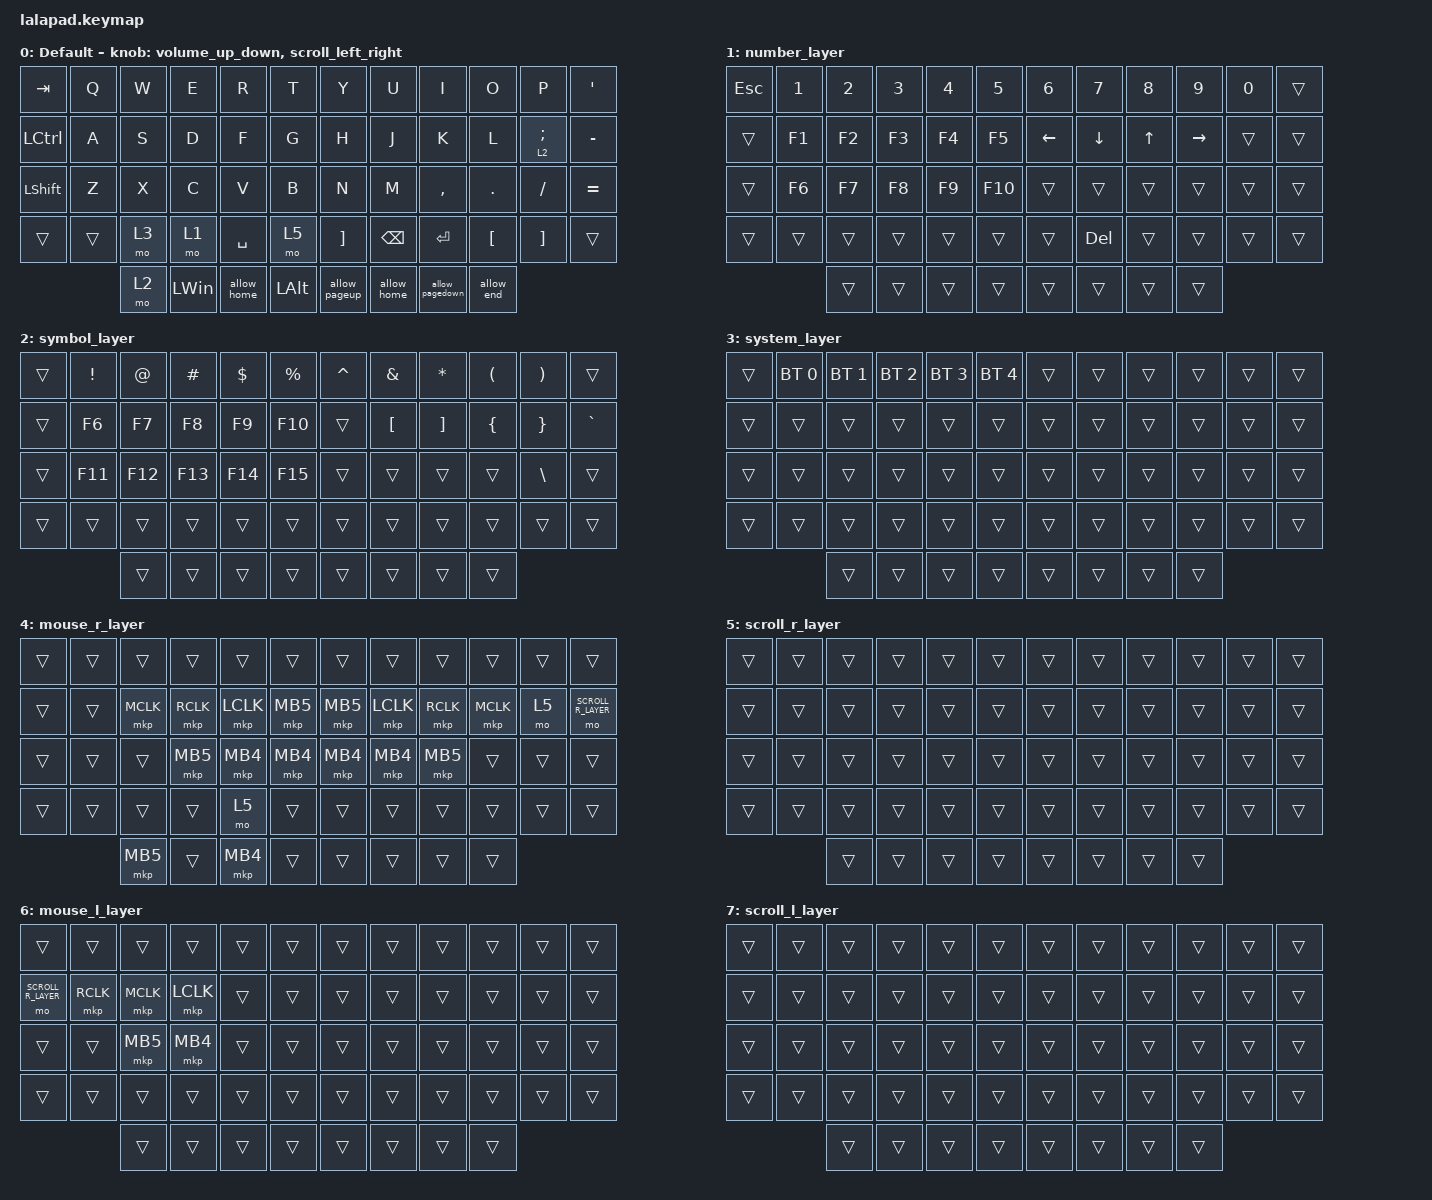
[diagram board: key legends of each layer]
#include <input/processors.dtsi>
#include <behaviors.dtsi>
#include <dt-bindings/zmk/bt.h>
#include <dt-bindings/zmk/keys.h>
#include <dt-bindings/zmk/pointing.h>

#define DEFAULT_LAYER   0
#define NUMBER_LAYER    1
#define SYMBOL_LAYER    2
#define SYSTEM_LAYER    3
#define MOUSE_R_LAYER   4
#define SCROLL_R_LAYER  5
#define MOUSE_L_LAYER   6
#define SCROLL_L_LAYER  7

// Mouse Scroll Value

#define ZMK_POINTING_DEFAULT_SCRL_VAL 100

// cirque trackpad input&layer control

&glidepoint_listener_R {
    input-processors =
        <&zip_xy_transform (INPUT_TRANSFORM_XY_SWAP | INPUT_TRANSFORM_X_INVERT | INPUT_TRANSFORM_Y_INVERT)>,
        <&zip_xy_scaler 3 2>,
        <&zip_temp_layer MOUSE_R_LAYER 500>;

    lowspeedmode {
        layers = <NUMBER_LAYER>;
        input-processors =
            <&zip_xy_transform (INPUT_TRANSFORM_XY_SWAP | INPUT_TRANSFORM_X_INVERT | INPUT_TRANSFORM_Y_INVERT)>,
            <&zip_xy_scaler 3 5>,
            <&zip_temp_layer MOUSE_R_LAYER 500>;
    };

    scroller {
        layers = <SCROLL_R_LAYER>;
        input-processors =
            <&zip_xy_to_scroll_mapper>,
            <&zip_scroll_transform (INPUT_TRANSFORM_XY_SWAP | INPUT_TRANSFORM_Y_INVERT)>,
            <&zip_scroll_scaler 1 8>;
    };
};

&glidepoint_listener_L {
    input-processors =
        <&zip_xy_transform (INPUT_TRANSFORM_XY_SWAP | INPUT_TRANSFORM_X_INVERT | INPUT_TRANSFORM_Y_INVERT)>,
        <&zip_xy_scaler 3 2>,
        <&zip_temp_layer MOUSE_L_LAYER 500>;

    lowspeedmode {
        layers = <NUMBER_LAYER>;
        input-processors =
            <&zip_xy_transform (INPUT_TRANSFORM_XY_SWAP | INPUT_TRANSFORM_X_INVERT | INPUT_TRANSFORM_Y_INVERT)>,
            <&zip_xy_scaler 3 4>,
            <&zip_temp_layer MOUSE_L_LAYER 500>;
    };

    scroller {
        layers = <SCROLL_L_LAYER>;
        input-processors =
            <&zip_xy_to_scroll_mapper>,
            <&zip_scroll_transform (INPUT_TRANSFORM_XY_SWAP | INPUT_TRANSFORM_Y_INVERT)>,
            <&zip_scroll_scaler 1 6>;
    };
};

/ {
    behaviors {
        // Encoder to Mouse Scroll

        scroll_up_down: behavior_sensor_rotate_mouse_wheel_up_down {
            compatible = "zmk,behavior-sensor-rotate";
            #sensor-binding-cells = <0>;
            bindings = <&msc SCRL_UP>, <&msc SCRL_DOWN>;

            tap-ms = <20>;
        };

        scroll_down_up: behavior_sensor_rotate_mouse_wheel_down_up {
            compatible = "zmk,behavior-sensor-rotate";
            #sensor-binding-cells = <0>;
            bindings = <&msc SCRL_DOWN>, <&msc SCRL_UP>;

            tap-ms = <20>;
        };

        scroll_left_right: behavior_sensor_rotate_mouse_wheel_left_right {
            compatible = "zmk,behavior-sensor-rotate";
            #sensor-binding-cells = <0>;
            bindings = <&msc SCRL_LEFT>, <&msc SCRL_RIGHT>;

            tap-ms = <20>;
        };

        scroll_right_left: behavior_sensor_rotate_mouse_wheel_right_left {
            compatible = "zmk,behavior-sensor-rotate";
            #sensor-binding-cells = <0>;
            bindings = <&msc SCRL_RIGHT>, <&msc SCRL_LEFT>;

            tap-ms = <20>;
        };

        volume_up_down: behavior_sensor_rotate_volume_up_down {
            compatible = "zmk,behavior-sensor-rotate";
            #sensor-binding-cells = <0>;
            bindings = <&kp C_VOLUME_UP>, <&kp C_VOLUME_DOWN>;

            tap-ms = <20>;
        };

        dot_comma: dot_comma {
            compatible = "zmk,behavior-mod-morph";
            #binding-cells = <0>;
            bindings = <&kp KP_DOT>, <&kp COMMA>;

            mods = <(MOD_LSFT|MOD_RSFT)>;
            label = "DOT_COMMA";
        };

        pls_minus: pls_minus {
            compatible = "zmk,behavior-mod-morph";
            #binding-cells = <0>;
            bindings = <&kp PLUS>, <&kp MINUS>;

            mods = <(MOD_LSFT|MOD_RSFT)>;
            label = "PLS_MINUS";
        };

        allow_pageup: allow_pageup {
            compatible = "zmk,behavior-mod-morph";
            #binding-cells = <0>;
            bindings = <&kp UP>, <&kp PAGE_UP>;

            mods = <(MOD_LCTL|MOD_RCTL)>;
            label = "ALLOW_PAGEUP";
        };

        allow_pagedown: allow_pagedown {
            compatible = "zmk,behavior-mod-morph";
            #binding-cells = <0>;
            bindings = <&kp DOWN>, <&kp PAGE_DOWN>;

            mods = <(MOD_LCTL|MOD_RCTL)>;
            label = "ALLOW_PAGEDOWN";
        };

        allow_home: allow_home {
            compatible = "zmk,behavior-mod-morph";
            #binding-cells = <0>;
            bindings = <&kp LEFT>, <&kp HOME>;

            mods = <(MOD_LCTL|MOD_RCTL)>;
            label = "ALLOW_HOME";
        };

        allow_end: allow_end {
            compatible = "zmk,behavior-mod-morph";
            #binding-cells = <0>;
            bindings = <&kp RIGHT>, <&kp END>;

            mods = <(MOD_LCTL|MOD_RCTL)>;
            label = "ALLOW_END";
        };

        mt2: mod_tap2 {
            compatible = "zmk,behavior-hold-tap";
            #binding-cells = <2>;
            flavor = "tap-preferred";
            tapping-term-ms = <200>;
            quick-tap-ms = <200>;
            require-prior-idle-ms = <125>;
            bindings = <&kp>, <&kp>;
        };
    };

    combos {
        compatible = "zmk,combos";

        JK_ctrl {
            bindings = <&kp LEFT_CONTROL>;
            key-positions = <19 20>;
            layers = <0>;
        };

        m,_alt {
            bindings = <&none>;
            key-positions = <31 32>;
            layers = <0>;
        };

        NM_shift {
            bindings = <&none>;
            key-positions = <30 31>;
            layers = <0>;
        };
    };

    keymap {
        compatible = "zmk,keymap";

        DEFAULT_LAYER {
            display-name = "Default";
            sensor-bindings = <&volume_up_down>, <&scroll_left_right>;

            bindings = <
&kp TAB    &kp Q   &kp W  &kp E         &kp R        &kp T         &kp Y              &kp U          &kp I            &kp O             &kp P              &kp SINGLE_QUOTE
&kp LCTRL  &kp A   &kp S  &kp D         &kp F        &kp G         &kp H              &kp J          &kp K            &kp L             &lt 2 SEMI         &kp MINUS
&kp LSHFT  &kp Z   &kp X  &kp C         &kp V        &kp B         &kp N              &kp M          &kp COMMA        &kp PERIOD        &kp SLASH          &kp EQUAL
&trans     &trans  &mo 3  &mo 1         &kp SPACE    &mo 5         &kp RIGHT_BRACKET  &kp BACKSPACE  &kp RET          &kp LEFT_BRACKET  &kp RIGHT_BRACKET  &trans
                   &mo 2  &kp LEFT_WIN  &allow_home  &kp LEFT_ALT  &allow_pageup      &allow_home    &allow_pagedown  &allow_end
            >;
        };

        NUMBER_LAYER {
            display-name = "number_layer";
            bindings = <
&kp ESC  &kp NUMBER_1  &kp NUMBER_2  &kp NUMBER_3  &kp NUMBER_4  &kp NUMBER_5  &kp NUMBER_6    &kp N7          &kp N8        &kp N9           &kp N0  &trans
&trans   &kp F1        &kp F2        &kp F3        &kp F4        &kp F5        &kp LEFT_ARROW  &kp DOWN_ARROW  &kp UP_ARROW  &kp RIGHT_ARROW  &trans  &trans
&trans   &kp F6        &kp F7        &kp F8        &kp F9        &kp F10       &trans          &trans          &trans        &trans           &trans  &trans
&trans   &trans        &trans        &trans        &trans        &trans        &trans          &kp DELETE      &trans        &trans           &trans  &trans
                       &trans        &trans        &trans        &trans        &trans          &trans          &trans        &trans
            >;
        };

        SYMBOL_LAYER {
            display-name = "symbol_layer";
            bindings = <
&trans  &kp EXCL  &kp AT   &kp HASH  &kp DOLLAR  &kp PERCENT  &kp CARET  &kp AMPERSAND     &kp ASTRK          &kp LEFT_PARENTHESIS  &kp RIGHT_PARENTHESIS  &trans
&trans  &kp F6    &kp F7   &kp F8    &kp F9      &kp F10      &trans     &kp LEFT_BRACKET  &kp RIGHT_BRACKET  &kp LEFT_BRACE        &kp RIGHT_BRACE        &kp GRAVE
&trans  &kp F11   &kp F12  &kp F13   &kp F14     &kp F15      &trans     &trans            &trans             &trans                &kp BACKSLASH          &trans
&trans  &trans    &trans   &trans    &trans      &trans       &trans     &trans            &trans             &trans                &trans                 &trans
                  &trans   &trans    &trans      &trans       &trans     &trans            &trans             &trans
            >;
        };

        SYSTEM_LAYER {
            display-name = "system_layer";
            bindings = <
&trans  &bt BT_SEL 0  &bt BT_SEL 1  &bt BT_SEL 2  &bt BT_SEL 3  &bt BT_SEL 4  &trans  &trans  &trans  &trans  &trans  &trans
&trans  &trans        &trans        &trans        &trans        &trans        &trans  &trans  &trans  &trans  &trans  &trans
&trans  &trans        &trans        &trans        &trans        &trans        &trans  &trans  &trans  &trans  &trans  &trans
&trans  &trans        &trans        &trans        &trans        &trans        &trans  &trans  &trans  &trans  &trans  &trans
                      &trans        &trans        &trans        &trans        &trans  &trans  &trans  &trans
            >;
        };

        MOUSE_R_LAYER {
            display-name = "mouse_r_layer";
            bindings = <
&trans  &trans  &trans     &trans     &trans     &trans    &trans    &trans     &trans     &trans     &trans  &trans
&trans  &trans  &mkp MCLK  &mkp RCLK  &mkp LCLK  &mkp MB5  &mkp MB5  &mkp LCLK  &mkp RCLK  &mkp MCLK  &mo 5   &mo SCROLL_R_LAYER
&trans  &trans  &trans     &mkp MB5   &mkp MB4   &mkp MB4  &mkp MB4  &mkp MB4   &mkp MB5   &trans     &trans  &trans
&trans  &trans  &trans     &trans     &mo 5      &trans    &trans    &trans     &trans     &trans     &trans  &trans
                &mkp MB5   &trans     &mkp MB4   &trans    &trans    &trans     &trans     &trans
            >;
        };

        SCROLL_R_LAYER {
            display-name = "scroll_r_layer";
            bindings = <
&trans  &trans  &trans  &trans  &trans  &trans  &trans  &trans  &trans  &trans  &trans  &trans
&trans  &trans  &trans  &trans  &trans  &trans  &trans  &trans  &trans  &trans  &trans  &trans
&trans  &trans  &trans  &trans  &trans  &trans  &trans  &trans  &trans  &trans  &trans  &trans
&trans  &trans  &trans  &trans  &trans  &trans  &trans  &trans  &trans  &trans  &trans  &trans
                &trans  &trans  &trans  &trans  &trans  &trans  &trans  &trans
            >;
        };

        MOUSE_L_LAYER {
            display-name = "mouse_l_layer";
            bindings = <
&trans              &trans     &trans     &trans     &trans  &trans  &trans  &trans  &trans  &trans  &trans  &trans
&mo SCROLL_R_LAYER  &mkp RCLK  &mkp MCLK  &mkp LCLK  &trans  &trans  &trans  &trans  &trans  &trans  &trans  &trans
&trans              &trans     &mkp MB5   &mkp MB4   &trans  &trans  &trans  &trans  &trans  &trans  &trans  &trans
&trans              &trans     &trans     &trans     &trans  &trans  &trans  &trans  &trans  &trans  &trans  &trans
                               &trans     &trans     &trans  &trans  &trans  &trans  &trans  &trans
            >;
        };

        SCROLL_L_LAYER {
            display-name = "scroll_l_layer";
            bindings = <
&trans  &trans  &trans  &trans  &trans  &trans  &trans  &trans  &trans  &trans  &trans  &trans
&trans  &trans  &trans  &trans  &trans  &trans  &trans  &trans  &trans  &trans  &trans  &trans
&trans  &trans  &trans  &trans  &trans  &trans  &trans  &trans  &trans  &trans  &trans  &trans
&trans  &trans  &trans  &trans  &trans  &trans  &trans  &trans  &trans  &trans  &trans  &trans
                &trans  &trans  &trans  &trans  &trans  &trans  &trans  &trans
            >;
        };
    };
};
